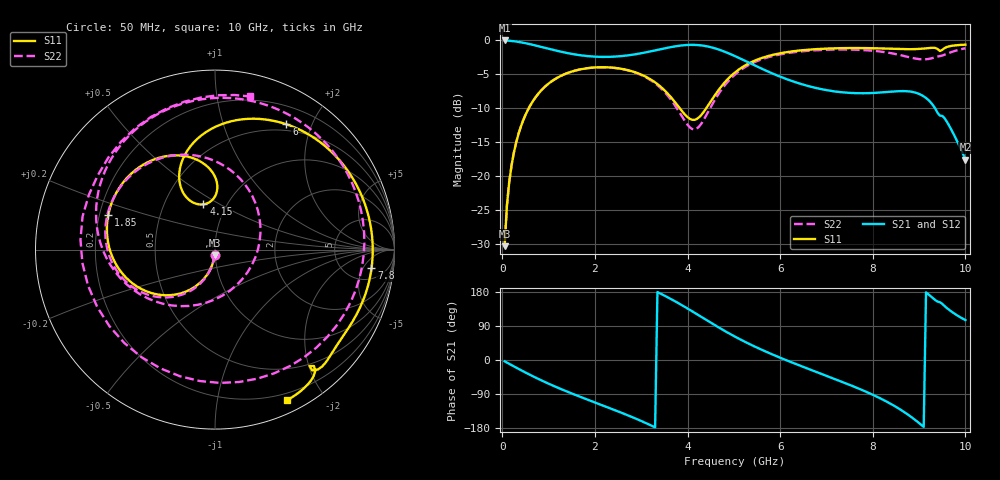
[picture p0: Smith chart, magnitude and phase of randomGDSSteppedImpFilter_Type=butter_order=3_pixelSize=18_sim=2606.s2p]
! freq	dB(S11)	phase(S11)	dB(S12)	phase(S12)
!  dB(S21)	phase(S21)	dB(S22)	phase(S22)
!S-par simulation data
#  GHz  S  DB  R 50
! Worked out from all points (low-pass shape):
!   200 points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, 50 MHz to 10 GHz, reference 50 ohm
!   highest |S21| = -0.01 dB at 50 MHz (marker M1); lowest = -17.5 dB at 10 GHz (marker M2)
!   |S21| within 3 dB of the highest: start of sweep to 5.243 GHz
!   lowest |S11| = -30.3 dB at 50 MHz (marker M3), VSWR 1.06, Z = 49.7 - j3.03 ohm
!   |S11| at or under -10 dB: start of sweep to 570.8 MHz; 3.833 GHz to 4.404 GHz (570.7 MHz wide, 13.9 % of centre)
!   |S22| runs from -30.3 to -1.2 dB; largest |S21 - S12| = 0
!   S11 on the Smith chart (normalised r, x): 50 MHz: 0.99, -0.06; 1.85 GHz: 0.24, +0.15; 4.15 GHz: 0.78, +0.42; 6 GHz: 0.42, +1.64; 7.8 GHz: 8, -8; 10 GHz: 0.13, -1.58
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0.05  -30.30 -93.6  -0.01 -3.4  -0.01 -3.4  -30.30 -93.5
0.2  -18.40 -104.3  -0.08 -13.5  -0.08 -13.5  -18.40 -103.6
0.5  -10.98 -124.4  -0.41 -33.0  -0.41 -33.0  -10.97 -122.6
1.05  -6.10 -157.5  -1.32 -65.2  -1.32 -65.2  -6.10 -154.0
1.75  -4.18 166.8  -2.24 -100.4  -2.24 -100.4  -4.19 171.6
1.85  -4.08 162.1  -2.32 -105.1  -2.32 -105.1  -4.09 167.0
2.75  -4.45 121.5  -2.17 -148.0  -2.17 -148.0  -4.49 122.6
3.4  -6.71 94.9  -1.33 176.2  -1.33 176.2  -6.89 79.2
4.15  -11.70 104.3  -0.66 124.9  -0.66 124.9  -13.12 -34.9
4.6  -7.98 118.7  -1.18 91.2  -1.18 91.2  -8.64 -121.5
5.05  -4.58 103.6  -2.39 60.0  -2.39 60.0  -4.88 -167.5
5.5  -2.85 82.8  -3.85 32.7  -3.85 32.7  -3.04 159.8
6  -1.90 60.4  -5.34 6.1  -5.34 6.1  -2.06 130.0
6.7  -1.32 31.8  -6.89 -27.6  -6.89 -27.6  -1.48 92.1
7.25  -1.15 11.6  -7.58 -53.4  -7.58 -53.4  -1.34 61.5
7.8  -1.13 -6.8  -7.78 -80.8  -7.78 -80.8  -1.42 26.1
8.35  -1.22 -23.4  -7.58 -113.2  -7.58 -113.2  -1.83 -21.1
8.6  -1.28 -30.0  -7.47 -131.1  -7.47 -131.1  -2.17 -50.5
8.9  -1.29 -37.2  -7.65 -156.8  -7.65 -156.8  -2.65 -96.5
9.3  -1.08 -47.5  -9.53 162.9  -9.53 162.9  -2.59 -174.2
9.65  -0.87 -53.7  -12.56 132.3  -12.56 132.3  -1.84 123.2
10  -0.63 -64.4  -17.55 105.3  -17.55 105.3  -1.16 77.1
